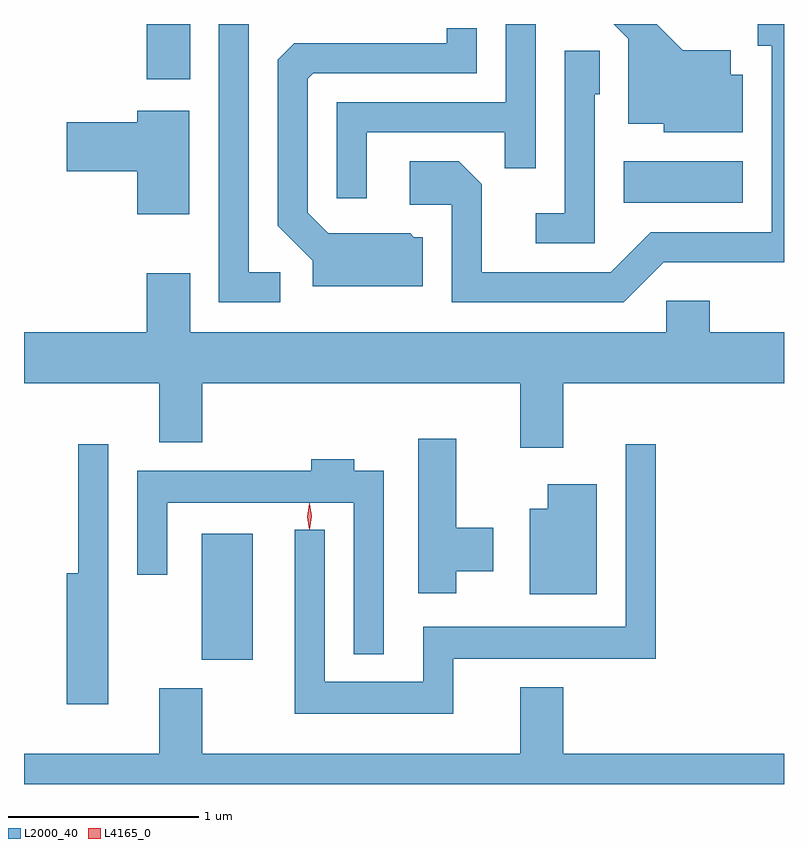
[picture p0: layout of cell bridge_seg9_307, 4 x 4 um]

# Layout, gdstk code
import gdstk
lib = gdstk.Library(unit=1e-6, precision=1e-09)
def R(c, l, rs):  # rectangles x0, y0, x1, y1
    for r in rs: c.add(gdstk.rectangle(r[:2], r[2:], *l))
def P(c, l, *ps):  # polygons
    for p in ps: c.add(gdstk.Polygon(p, *l))
L2000_40 = (2000, 40)
L4165_0 = (4165, 0)

bridge_seg9_307 = lib.new_cell('bridge_seg9_307')
R(bridge_seg9_307, L2000_40, [(968.216,2079.161,968.484,2079.824), (970.436,2081.566,971.064,2081.784), (967.926,2082.216,968.154,2082.506)])
P(bridge_seg9_307, L2000_40, [(968.628,2081.199),(968.464,2081.199),(968.464,2082.506),(968.306,2082.506),(968.306,2081.041),(968.628,2081.041)],
  [(969.084,2081.936),(969.811,2081.936),(969.811,2081.748),(969.974,2081.748),(969.974,2082.506),(969.816,2082.506),(969.816,2082.094),(968.926,2082.094),(968.926,2081.588),(969.084,2081.588)],
  [(971.064,2082.239),(970.999,2082.239),(970.999,2082.369),(970.747,2082.369),(970.61,2082.506),(970.384,2082.506),(970.461,2082.429),(970.461,2081.981),(970.646,2081.981),(970.646,2081.936),(971.064,2081.936)],
  [(970.647,2081.251),(971.28,2081.251),(971.28,2082.506),(971.143,2082.506),(971.143,2082.391),(971.216,2082.391),(971.216,2081.409),(970.579,2081.409),(970.369,2081.199),(969.689,2081.199),(969.689,2081.662),(969.567,2081.784),(969.311,2081.784),(969.311,2081.556),(969.531,2081.556),(969.531,2081.041),(970.437,2081.041)],
  [(969.379,2081.384),(969.332,2081.384),(969.312,2081.404),(968.882,2081.404),(968.774,2081.512),(968.774,2082.219),(968.802,2082.246),(969.664,2082.246),(969.664,2082.483),(969.506,2082.483),(969.506,2082.404),(968.702,2082.404),(968.616,2082.318),(968.616,2081.443),(968.801,2081.259),(968.801,2081.126),(969.379,2081.126)],
  [(970.284,2082.136),(970.309,2082.136),(970.309,2082.364),(970.126,2082.364),(970.126,2081.509),(969.973,2081.509),(969.973,2081.351),(970.284,2081.351)],
  [(968.149,2082.049),(967.876,2082.049),(967.876,2081.989),(967.506,2081.989),(967.506,2081.731),(967.876,2081.731),(967.876,2081.506),(968.149,2081.506)],
  [(970.119,2080.616),(971.28,2080.616),(971.28,2080.884),(970.889,2080.884),(970.889,2081.049),(970.661,2081.049),(970.661,2080.884),(968.154,2080.884),(968.154,2081.194),(967.926,2081.194),(967.926,2080.884),(967.28,2080.884),(967.28,2080.616),(967.991,2080.616),(967.991,2080.306),(968.219,2080.306),(968.219,2080.616),(969.891,2080.616),(969.891,2080.276),(970.119,2080.276)],
  [(969.554,2079.626),(969.749,2079.626),(969.749,2079.854),(969.554,2079.854),(969.554,2080.324),(969.356,2080.324),(969.356,2079.511),(969.554,2079.511)],
  [(967.724,2080.293),(967.566,2080.293),(967.566,2079.614),(967.506,2079.614),(967.506,2078.926),(967.724,2078.926)],
  [(969.539,2079.166),(970.604,2079.166),(970.604,2080.293),(970.446,2080.293),(970.446,2079.334),(969.381,2079.334),(969.381,2079.044),(968.864,2079.044),(968.864,2079.843),(968.706,2079.843),(968.706,2078.876),(969.539,2078.876)],
  [(969.174,2080.154),(969.019,2080.154),(969.019,2080.214),(968.791,2080.214),(968.791,2080.154),(967.876,2080.154),(967.876,2079.608),(968.034,2079.608),(968.034,2079.986),(969.016,2079.986),(969.016,2079.188),(969.174,2079.188)],
  [(970.294,2080.084),(970.036,2080.084),(970.036,2079.954),(969.941,2079.954),(969.941,2079.506),(970.294,2079.506)],
  [(971.28,2078.664),(970.119,2078.664),(970.119,2079.014),(969.891,2079.014),(969.891,2078.664),(968.219,2078.664),(968.219,2079.009),(967.991,2079.009),(967.991,2078.664),(967.28,2078.664),(967.28,2078.506),(971.28,2078.506)])
P(bridge_seg9_307, L4165_0, [(968.782,2079.843),(968.782,2079.844),(968.772,2079.913),(968.782,2079.982),(968.782,2079.983),(968.783,2079.982),(968.792,2079.913),(968.783,2079.844)],
  [(968.784,2079.847),(968.775,2079.914),(968.784,2079.98),(968.785,2079.98),(968.785,2079.98),(968.795,2079.914),(968.785,2079.847),(968.785,2079.847)])

lib.write_gds('bridge_seg9_307.gds')
